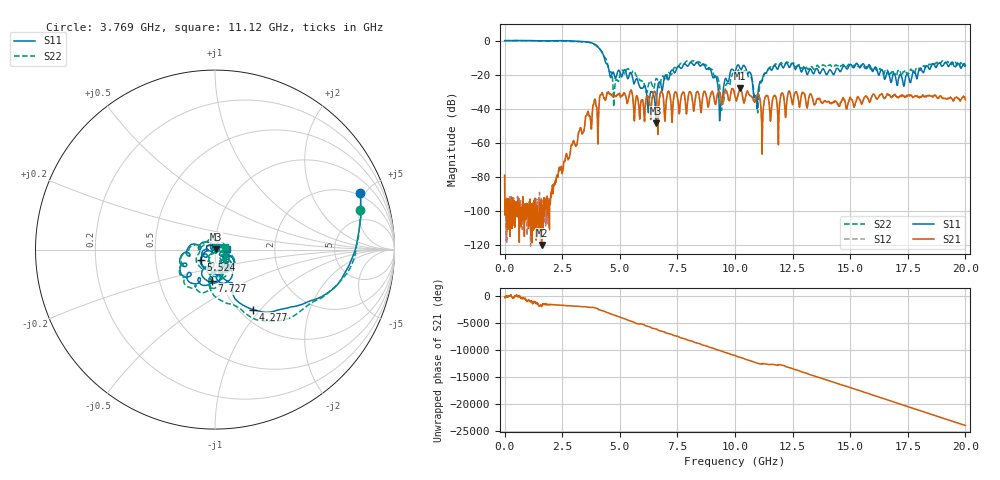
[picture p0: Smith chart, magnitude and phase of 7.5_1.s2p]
#  HZ  S  RI  R  50.00
! Rohde & Schwarz Vector Network Analyzer
! Rohde-Schwarz,ZNB20-2Port,1311601062102128,3.60
! Created: UTC 4/29/2024, 2:54:33 PM
! freq[Hz]  re:S11  im:S11  re:S21  im:S21  re:S12  im:S12  re:S22  im:S22
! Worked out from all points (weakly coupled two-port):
!   2007 points, 100 kHz to 20 GHz, reference 50 ohm
!   highest |S21| = -27.99 dB at 10.22 GHz (marker M1); lowest = -120.0 dB at 1.605 GHz (marker M2)
!   lowest |S11| = -48.5 dB at 6.56 GHz (marker M3), VSWR 1.01, Z = 50.3 + j0.231 ohm
!   |S11| at or under -10 dB: 4.325 GHz to end of sweep
!   |S22| runs from -42.4 to 0.1 dB; largest |S21 - S12| = 0.0021
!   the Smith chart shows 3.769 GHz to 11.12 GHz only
!   S11 on the Smith chart (normalised r, x): 3.769 GHz: 1.80, +4.59; 4.277 GHz: 1.15, -0.91; 5.524 GHz: 0.85, -0.10; 7.727 GHz: 0.91, -0.33; 11.12 GHz: 1.14, +0.01
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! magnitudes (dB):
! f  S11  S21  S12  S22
! 100 kHz  0.0  -79.0  -78.8  0.1
! 1.605 GHz  -0.1  -120.0  -102.7  -0.2
! 2.243 GHz  0.0  -81.8  -81.1  -0.3
! 3.34 GHz  -0.6  -53.9  -53.6  -0.6
! 3.769 GHz  -1.2  -51.8  -52.0  -1.5
! 4.277 GHz  -8.1  -32.3  -32.2  -8.4
! 4.776 GHz  -20.9  -32.3  -32.3  -28.1
! 5.524 GHz  -20.1  -30.4  -30.4  -19.0
! 6.56 GHz  -48.5  -31.6  -31.6  -22.6
! 6.67 GHz  -25.6  -45.0  -45.1  -24.7
! 7.727 GHz  -15.2  -30.6  -30.7  -13.7
! 8.893 GHz  -16.1  -34.5  -34.5  -16.8
! 9.382 GHz  -37.7  -33.5  -33.5  -34.1
! 10 GHz  -18.5  -32.6  -32.6  -19.9
! 10.22 GHz  -16.2  -28.0  -28.0  -17.1
! 10.66 GHz  -18.8  -32.3  -32.3  -21.8
! 10.89 GHz  -32.5  -35.4  -35.4  -34.6
! 11.12 GHz  -23.8  -37.7  -37.7  -24.9
! 11.73 GHz  -14.6  -32.2  -32.2  -13.9
! 13.34 GHz  -18.0  -32.7  -32.6  -15.3
! 16.67 GHz  -19.1  -31.8  -31.8  -20.5
! 20 GHz  -14.6  -34.8  -34.8  -14.3
